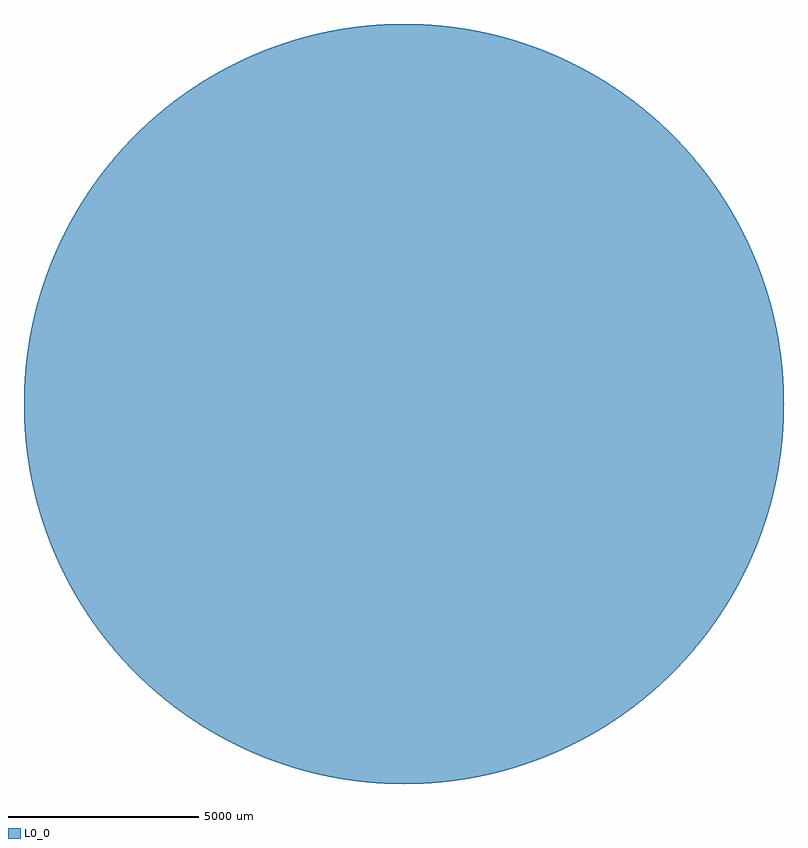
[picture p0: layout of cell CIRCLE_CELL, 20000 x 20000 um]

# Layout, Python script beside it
import gdspy

# Define the layer and datatype
layer = 0
datatype = 0

# Define the circle parameters
radius = 10000  # in microns (10 mm = 10000 microns)
center = (0, 0)

# Create a new GDSII library
gdsii_lib = gdspy.GdsLibrary()

# Create a new cell
cell = gdsii_lib.new_cell('CIRCLE_CELL')

# Create the circle
circle = gdspy.Round(center, radius, tolerance=1e-3, layer=layer, datatype=datatype)

# Add the circle to the cell
cell.add(circle)

# Save the design to a GDSII file
gdsii_lib.write_gds('circle_design.gds')

print("GDSII file 'circle_design.gds' created successfully.")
